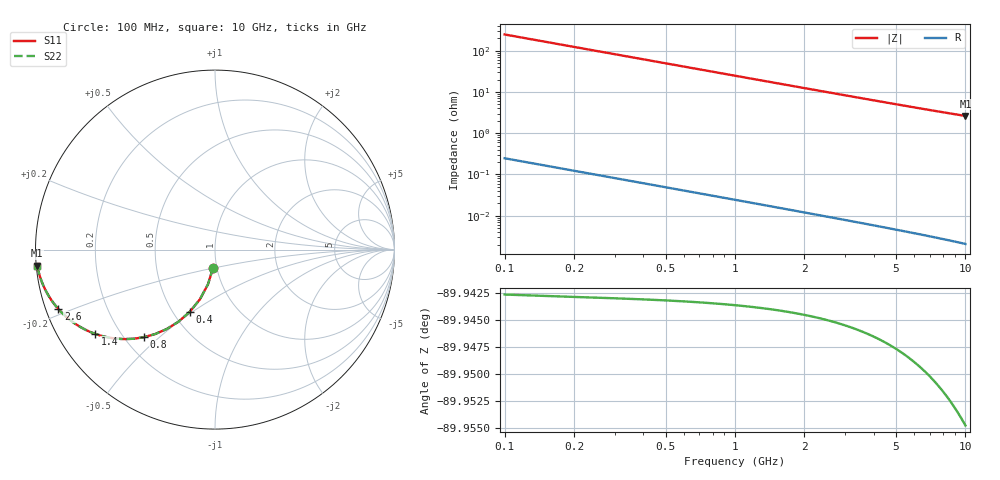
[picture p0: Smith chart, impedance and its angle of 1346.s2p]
# Hz S RI R 50.00
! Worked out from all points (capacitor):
!   100 points, 100 MHz to 10 GHz, reference 50 ohm
!   read as one part in shunt: C = 6.44 pF near 100 MHz
!   lowest |Z| = 2.63 ohm at 10 GHz (marker M1)
!   S11 on the Smith chart (normalised r, x): 100 MHz: 0.96, -0.19; 400 MHz: 0.60, -0.49; 800 MHz: 0.28, -0.45; 1.4 GHz: 0.11, -0.31; 2.6 GHz: 0.04, -0.18; 10 GHz: 0.00, -0.05
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1e8  -0.0102 -0.1  0.9898 -0.1001  0.9898 -0.1001  -0.0102 -0.1
2e8  -0.0395 -0.1941  0.9605 -0.1944  0.9605 -0.1944  -0.0395 -0.1941
3e8  -0.0845 -0.2774  0.9155 -0.2778  0.9155 -0.2778  -0.0845 -0.2774
4e8  -0.1408 -0.3471  0.8592 -0.3476  0.8592 -0.3476  -0.1408 -0.3471
5e8  -0.2037 -0.402  0.7962 -0.4026  0.7962 -0.4026  -0.2037 -0.402
6e8  -0.2691 -0.4426  0.7308 -0.4434  0.7308 -0.4434  -0.2691 -0.4426
7e8  -0.3338 -0.4706  0.6662 -0.4715  0.6662 -0.4715  -0.3338 -0.4706
8e8  -0.3954 -0.4879  0.6045 -0.489  0.6045 -0.489  -0.3954 -0.4879
9e8  -0.4528 -0.4967  0.5472 -0.4979  0.5472 -0.4979  -0.4528 -0.4967
1.1e9  -0.5526 -0.496  0.4474 -0.4975  0.4474 -0.4975  -0.5526 -0.496
1.2e9  -0.595 -0.4896  0.4049 -0.4912  0.4049 -0.4912  -0.595 -0.4896
1.4e9  -0.6665 -0.47  0.3335 -0.4719  0.3335 -0.4719  -0.6665 -0.47
1.6e9  -0.7229 -0.446  0.2771 -0.4482  0.2771 -0.4482  -0.7229 -0.446
1.8e9  -0.7674 -0.4207  0.2325 -0.4232  0.2325 -0.4232  -0.7674 -0.4207
2.2e9  -0.8312 -0.3726  0.1688 -0.3756  0.1688 -0.3756  -0.8312 -0.3726
2.6e9  -0.8729 -0.3308  0.127 -0.3343  0.127 -0.3343  -0.8729 -0.3308
3.4e9  -0.9214 -0.2662  0.0785 -0.2709  0.0785 -0.2709  -0.9214 -0.2662
4.2e9  -0.947 -0.2205  0.0529 -0.2263  0.0529 -0.2263  -0.947 -0.2205
5.1e9  -0.9634 -0.1835  0.0365 -0.1906  0.0365 -0.1906  -0.9634 -0.1835
6.7e9  -0.9785 -0.1396  0.0214 -0.149  0.0214 -0.149  -0.9785 -0.1396
8.4e9  -0.9863 -0.1096  0.0136 -0.1215  0.0136 -0.1215  -0.9863 -0.1096
1e10  -0.9903 -0.0897  0.00952 -0.1041  0.00952 -0.1041  -0.9903 -0.0897
